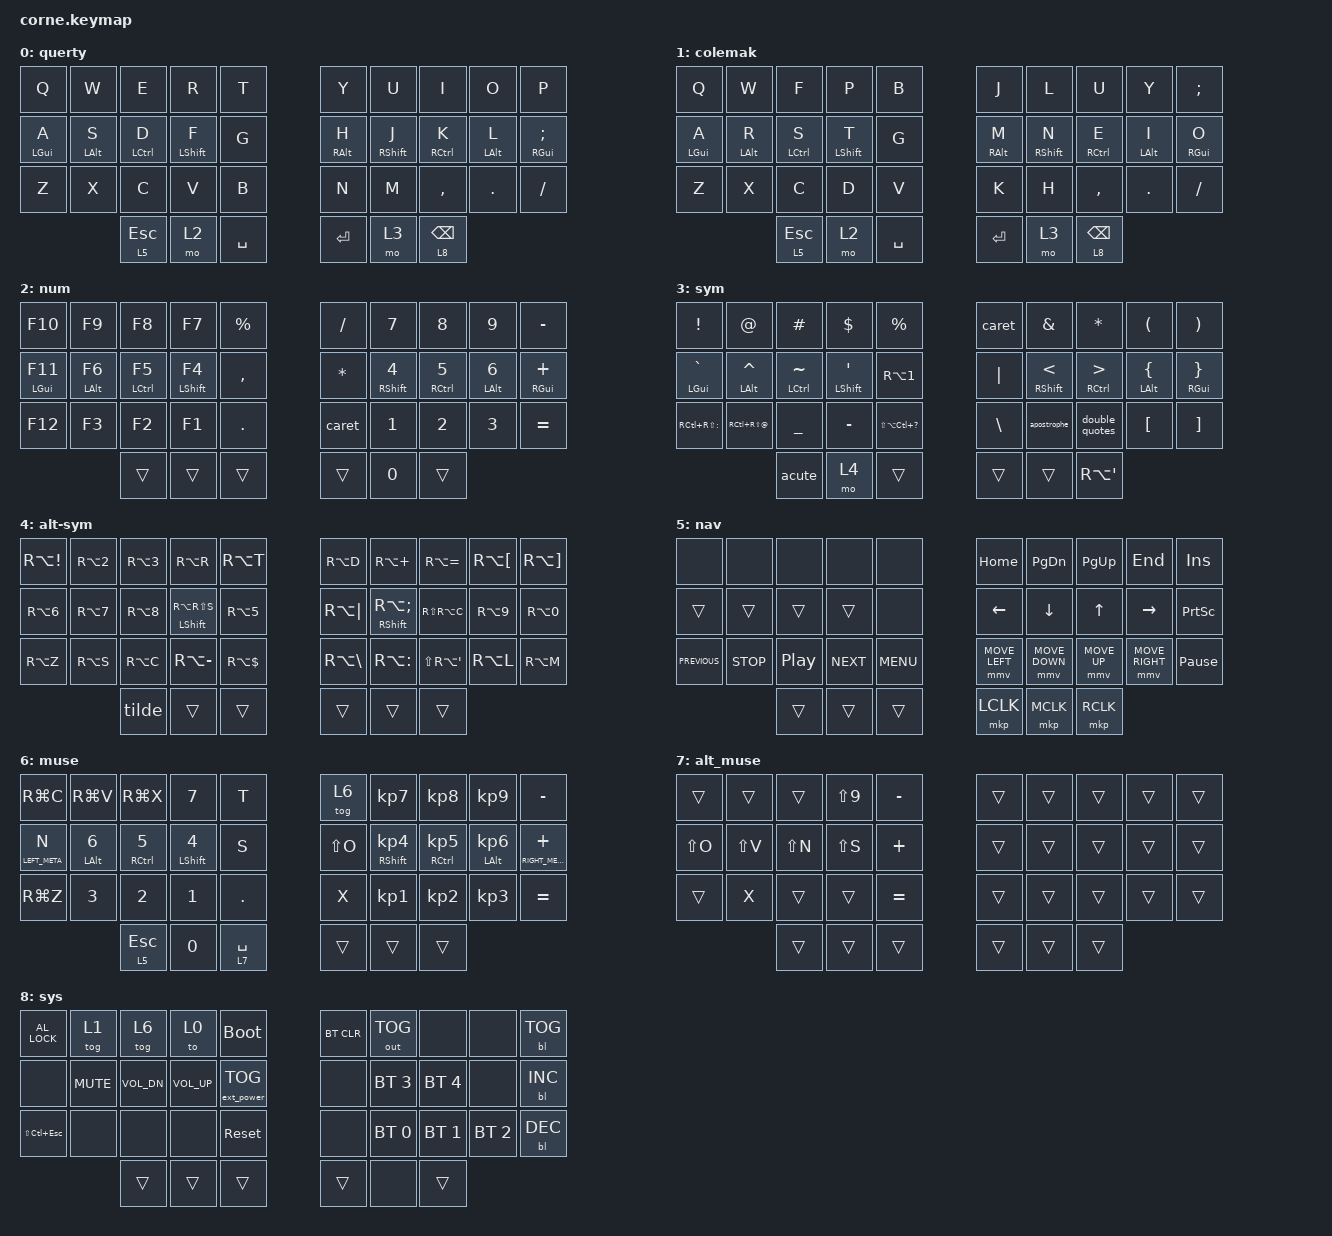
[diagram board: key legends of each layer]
/*
 * Copyright (c) 2020 The ZMK Contributors
 *
 * SPDX-License-Identifier: MIT
 */

#include <behaviors.dtsi>
#include <dt-bindings/zmk/backlight.h>
#include <dt-bindings/zmk/bt.h>
#include <dt-bindings/zmk/ext_power.h>
#include <dt-bindings/zmk/keys.h>
#include <dt-bindings/zmk/outputs.h>
#include <dt-bindings/zmk/pointing.h>

&lt {
    quick-tap-ms = <150>;
    tapping-term-ms = <150>;
};

&mmv { time-to-max-speed-ms = <50>; };

&msc { acceleration-exponent = <1>; };

&caps_word { continue-list = <UNDERSCORE BACKSPACE DELETE MINUS COLON>; };

/ {
    chosen { zmk,matrix_transform = &five_column_transform; };

    combos {
        compatible = "zmk,combos";

        esc {
            bindings = <&kp ESC>;
            key-positions = <13 12>;
        };

        tab {
            bindings = <&kp TAB>;
            key-positions = <23 22>;
        };

        caps_word {
            bindings = <&caps_word>;
            key-positions = <20 21>;
        };

        caps_lock {
            bindings = <&kp CAPS>;
            key-positions = <20 21 22>;
        };

        delete {
            bindings = <&kp DELETE>;
            key-positions = <26 27>;
        };

        backspace {
            bindings = <&kp BACKSPACE>;
            key-positions = <16 17>;
        };
    };

    behaviors {
        hm: hm {
            compatible = "zmk,behavior-hold-tap";
            label = "HM";
            bindings = <&kp>, <&kp>;

            #binding-cells = <2>;
            tapping-term-ms = <150>;
            quick-tap-ms = <200>;
            flavor = "tap-preferred";
        };
    };

    macros {
        double_quotes: double_quotes {
            compatible = "zmk,behavior-macro";
            #binding-cells = <0>;
            bindings = <&kp DQT &kp SPACE>;
            label = "DOUBLE_QUOTES";
        };

        apostrophe: apostrophe {
            compatible = "zmk,behavior-macro";
            #binding-cells = <0>;
            bindings = <&kp APOS &kp SPACE>;
            label = "APOSTROPHE";
        };

        caret: caret {
            compatible = "zmk,behavior-macro";
            #binding-cells = <0>;
            bindings = <&kp LS(NUMBER_6) &kp SPACE>;
            label = "CARET";
        };

        acute: acute {
            compatible = "zmk,behavior-macro";
            #binding-cells = <0>;
            bindings = <&kp GRAVE &kp SPACE>;
            label = "ACUTE";
        };

        tilde: tilde {
            compatible = "zmk,behavior-macro";
            #binding-cells = <0>;
            bindings = <&kp TILDE &kp SPACE>;
            label = "TILDE";
        };
    };

    keymap {
        compatible = "zmk,keymap";

        qwerty {
            display-name = "querty";
            bindings = <
  &kp Q       &kp W       &kp E         &kp R        &kp T        &kp Y            &kp U        &kp I            &kp O           &kp P
  &hm LGUI A  &hm LALT S  &hm LCTRL D   &hm LSHFT F  &kp G        &hm RIGHT_ALT H  &hm RSHFT J  &hm RCTRL K      &hm LEFT_ALT L  &hm RGUI SEMI
  &kp Z       &kp X       &kp C         &kp V        &kp B        &kp N            &kp M        &kp COMMA        &kp DOT         &kp FSLH
                          &lt 5 ESCAPE  &mo 2        &kp SPACE    &kp RET          &mo 3        &lt 8 BACKSPACE
            >;
        };

        colemak {
            display-name = "colemak";
            bindings = <
  &kp Q       &kp W       &kp F         &kp P        &kp B        &kp J            &kp L        &kp U            &kp Y           &kp SEMI
  &hm LGUI A  &hm LALT R  &hm LCTRL S   &hm LSHFT T  &kp G        &hm RIGHT_ALT M  &hm RSHFT N  &hm RCTRL E      &hm LEFT_ALT I  &hm RGUI O
  &kp Z       &kp X       &kp C         &kp D        &kp V        &kp K            &kp H        &kp COMMA        &kp DOT         &kp FSLH
                          &lt 5 ESCAPE  &mo 2        &kp SPACE    &kp RET          &mo 3        &lt 8 BACKSPACE
            >;
        };

        num {
            display-name = "num";
            bindings = <
  &kp F10           &kp F9           &kp F8               &kp F7             &kp PERCENT    &kp SLASH  &kp N7              &kp N8        &kp N9           &kp MINUS
  &hm LEFT_GUI F11  &hm LEFT_ALT F6  &hm LEFT_CONTROL F5  &hm LEFT_SHIFT F4  &kp COMMA      &kp ASTRK  &hm RIGHT_SHIFT N4  &hm RCTRL N5  &hm LEFT_ALT N6  &hm RIGHT_GUI PLUS
  &kp F12           &kp F3           &kp F2               &kp F1             &kp PERIOD     &caret     &kp N1              &kp N2        &kp N3           &kp EQUAL
                                     &trans               &trans             &trans         &trans     &kp N0              &trans
            >;
        };

        sym {
            display-name = "sym";
            bindings = <
  &kp EXCL            &kp AT              &kp HASH         &kp DLLR             &kp PRCNT                   &caret         &kp AMPS            &kp ASTRK       &kp LPAR           &kp RPAR
  &hm LEFT_GUI GRAVE  &hm LEFT_ALT CARET  &hm LCTRL TILDE  &hm LEFT_SHIFT APOS  &kp RA(NUMBER_1)            &kp PIPE       &hm RIGHT_SHIFT LT  &hm RCTRL GT    &hm LEFT_ALT LBRC  &hm RIGHT_GUI RBRC
  &kp RC(RS(COLON))   &kp RC(RS(AT))      &kp UNDER        &kp MINUS            &kp LS(LA(LC(QUESTION)))    &kp BACKSLASH  &apostrophe         &double_quotes  &kp LBKT           &kp RBKT
                                          &acute           &mo 4                &trans                      &trans         &trans              &kp RA(APOS)
            >;
        };

        alt_sym {
            display-name = "alt-sym";
            bindings = <
  &kp RA(EXCL)      &kp RA(N2)  &kp RA(NUMBER_3)  &kp RA(R)                 &kp RA(T)         &kp RA(D)          &kp RA(PLUS)              &kp RA(EQUAL)             &kp RA(LEFT_BRACKET)  &kp RA(RIGHT_BRACKET)
  &kp RA(NUMBER_6)  &kp RA(N7)  &kp RA(N8)        &hm LEFT_SHIFT RA(RS(S))  &kp RA(N5)        &kp RA(PIPE)       &hm RIGHT_SHIFT RA(SEMI)  &kp RS(RA(C))             &kp RA(N9)            &kp RA(N0)
  &kp RA(Z)         &kp RA(S)   &kp RA(C)         &kp RA(MINUS)             &kp RA(DOLLAR)    &kp RA(BACKSLASH)  &kp RA(COLON)             &kp LS(RA(SINGLE_QUOTE))  &kp RA(L)             &kp RA(M)
                                &tilde            &trans                    &trans            &trans             &trans                    &trans
            >;
        };

        nav {
            display-name = "nav";
            bindings = <
  &none           &none       &none             &none       &none         &kp HOME        &kp PAGE_DOWN   &kp PAGE_UP   &kp END          &kp INSERT
  &trans          &trans      &trans            &trans      &none         &kp LEFT        &kp DOWN        &kp UP_ARROW  &kp RIGHT        &kp PRINTSCREEN
  &kp C_PREVIOUS  &kp C_STOP  &kp C_PLAY_PAUSE  &kp C_NEXT  &kp C_MENU    &mmv MOVE_LEFT  &mmv MOVE_DOWN  &mmv MOVE_UP  &mmv MOVE_RIGHT  &kp PAUSE_BREAK
                              &trans            &trans      &trans        &mkp LCLK       &mkp MCLK       &mkp RCLK
            >;
        };

        muse {
            bindings = <
  &kp RG(C)        &kp RG(V)              &kp RG(X)     &kp N7                   &kp T          &tog 6     &kp KP_NUMBER_7              &kp KP_NUMBER_8        &kp KP_NUMBER_9           &kp MINUS
  &hm LEFT_META N  &hm LEFT_ALT NUMBER_6  &hm RCTRL N5  &hm LEFT_SHIFT NUMBER_4  &kp S          &kp LS(O)  &hm RIGHT_SHIFT KP_NUMBER_4  &hm RCTRL KP_NUMBER_5  &hm LEFT_ALT KP_NUMBER_6  &hm RIGHT_META PLUS
  &kp RG(Z)        &kp NUMBER_3           &kp NUMBER_2  &kp NUMBER_1             &kp DOT        &kp X      &kp KP_NUMBER_1              &kp KP_NUMBER_2        &kp KP_NUMBER_3           &kp EQUAL
                                          &lt 5 ESCAPE  &kp N0                   &lt 7 SPACE    &trans     &trans                       &trans
            >;

            label = "muse";
        };

        alt_muse {
            bindings = <
  &trans     &trans     &trans     &kp LS(N9)  &kp MINUS    &trans  &trans  &trans  &trans  &trans
  &kp LS(O)  &kp LS(V)  &kp LS(N)  &kp LS(S)   &kp PLUS     &trans  &trans  &trans  &trans  &trans
  &trans     &kp X      &trans     &trans      &kp EQUAL    &trans  &trans  &trans  &trans  &trans
                        &trans     &trans      &trans       &trans  &trans  &trans
            >;

            label = "alt_muse";
        };

        sys {
            display-name = "sys";
            bindings = <
  &kp C_AL_LOCK       &tog 1      &tog 6        &to 0         &bootloader          &bt BT_CLR  &out OUT_TOG  &none         &none         &bl BL_TOG
  &none               &kp C_MUTE  &kp C_VOL_DN  &kp C_VOL_UP  &ext_power EP_TOG    &none       &bt BT_SEL 3  &bt BT_SEL 4  &none         &bl BL_INC
  &kp LS(LC(ESCAPE))  &none       &none         &none         &sys_reset           &none       &bt BT_SEL 0  &bt BT_SEL 1  &bt BT_SEL 2  &bl BL_DEC
                                  &trans        &trans        &trans               &trans      &none         &trans
            >;
        };
    };

    conditional_layers { compatible = "zmk,conditional-layers"; };
};
